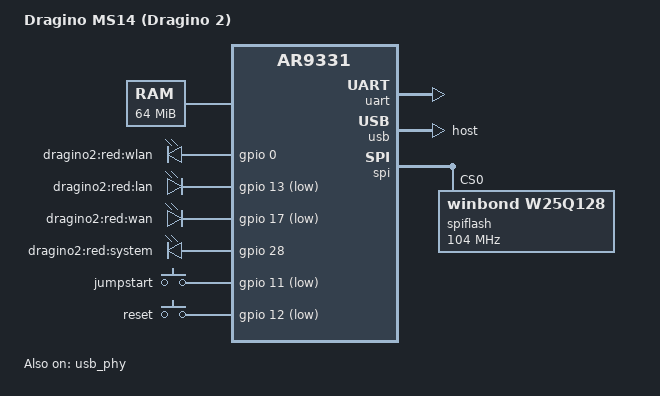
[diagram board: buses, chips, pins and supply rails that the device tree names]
// SPDX-License-Identifier: GPL-2.0
/dts-v1/;

#include <dt-bindings/gpio/gpio.h>
#include <dt-bindings/input/input.h>

#include "ar9331.dtsi"

/ {
	model = "Dragino MS14 (Dragino 2)";
	compatible = "dragino,ms14";

	aliases {
		serial0 = &uart;
	};

	memory@0 {
		device_type = "memory";
		reg = <0x0 0x4000000>;
	};

	leds {
		compatible = "gpio-leds";

		led-wlan {
			label = "dragino2:red:wlan";
			gpios = <&gpio 0 GPIO_ACTIVE_HIGH>;
			default-state = "off";
		};

		led-lan {
			label = "dragino2:red:lan";
			gpios = <&gpio 13 GPIO_ACTIVE_LOW>;
			default-state = "off";
		};

		led-wan {
			label = "dragino2:red:wan";
			gpios = <&gpio 17 GPIO_ACTIVE_LOW>;
			default-state = "off";
		};

		led-system {
			label = "dragino2:red:system";
			gpios = <&gpio 28 GPIO_ACTIVE_HIGH>;
			default-state = "off";
		};
	};

	gpio-keys {
		compatible = "gpio-keys";

		button-0 {
			label = "jumpstart";
			linux,code = <KEY_WPS_BUTTON>;
			gpios = <&gpio 11 GPIO_ACTIVE_LOW>;
		};

		button-1 {
			label = "reset";
			linux,code = <KEY_RESTART>;
			gpios = <&gpio 12 GPIO_ACTIVE_LOW>;
		};
	};
};

&ref {
	clock-frequency = <25000000>;
};

&uart {
	status = "okay";
};

&gpio {
	status = "okay";
};

&usb {
	dr_mode = "host";
	status = "okay";
};

&usb_phy {
	status = "okay";
};

&spi {
	num-chipselects = <1>;
	status = "okay";

	/* Winbond 25Q128BVFG SPI flash */
	spiflash: w25q128@0 {
		#address-cells = <1>;
		#size-cells = <1>;
		compatible = "winbond,w25q128", "jedec,spi-nor";
		spi-max-frequency = <104000000>;
		reg = <0>;
	};
};
